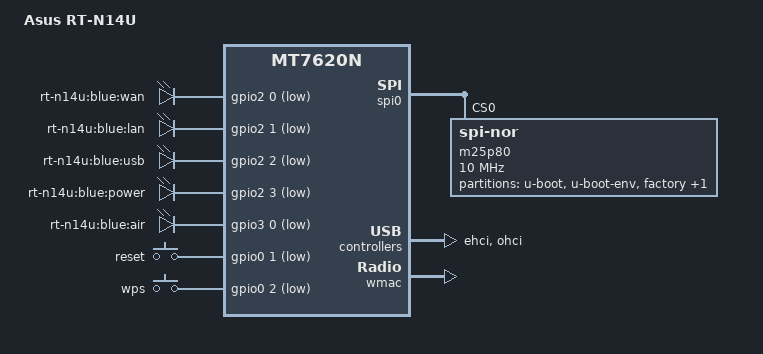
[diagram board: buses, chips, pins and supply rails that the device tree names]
/dts-v1/;

#include "mt7620n.dtsi"

/ {
	compatible = "asus,rt-n14u", "ralink,mt7620n-soc";
	model = "Asus RT-N14U";

	gpio-leds {
		compatible = "gpio-leds";

		wan {
			label = "rt-n14u:blue:wan";
			gpios = <&gpio2 0 1>;
		};

		lan {
			label = "rt-n14u:blue:lan";
			gpios = <&gpio2 1 1>;
		};

		usb {
			label = "rt-n14u:blue:usb";
			gpios = <&gpio2 2 1>;
		};

		power {
			label = "rt-n14u:blue:power";
			gpios = <&gpio2 3 1>;
		};

		air {
			label = "rt-n14u:blue:air";
			gpios = <&gpio3 0 1>;
		};
	};

	gpio-keys-polled {
		compatible = "gpio-keys-polled";
		#address-cells = <1>;
		#size-cells = <0>;
		poll-interval = <20>;

		reset {
			label = "reset";
			gpios = <&gpio0 1 1>;
			linux,code = <0x198>;
		};

		wps {
			label = "wps";
			gpios = <&gpio0 2 1>;
			linux,code = <0x211>;
		};
	};
};

&gpio2 {
	status = "okay";
};

&gpio3 {
	status = "okay";
};

&spi0 {
	status = "okay";

	m25p80@0 {
		#address-cells = <1>;
		#size-cells = <1>;
		compatible = "jedec,spi-nor";
		reg = <0>;
		linux,modalias = "m25p80", "w25q128";
		spi-max-frequency = <10000000>;

		partition@0 {
			label = "u-boot";
			reg = <0x0 0x30000>;
			read-only;
		};

		partition@30000 {
			label = "u-boot-env";
			reg = <0x30000 0x10000>;
			read-only;
		};

		factory: partition@40000 {
			label = "factory";
			reg = <0x40000 0x10000>;
			read-only;
		};

		partition@50000 {
			label = "firmware";
			reg = <0x50000 0xfb0000>;
		};
	};
};

&ehci {
	status = "okay";
};

&ohci {
	status = "okay";
};

&ethernet {
	mtd-mac-address = <&factory 0x4>;
	mediatek,portmap = "wllll";
};

&wmac {
	ralink,mtd-eeprom = <&factory 0>;
};

&pinctrl {
	state_default: pinctrl0 {
		default {
			ralink,group = "ephy", "wled", "i2c";
			ralink,function = "gpio";
		};
	};
};
